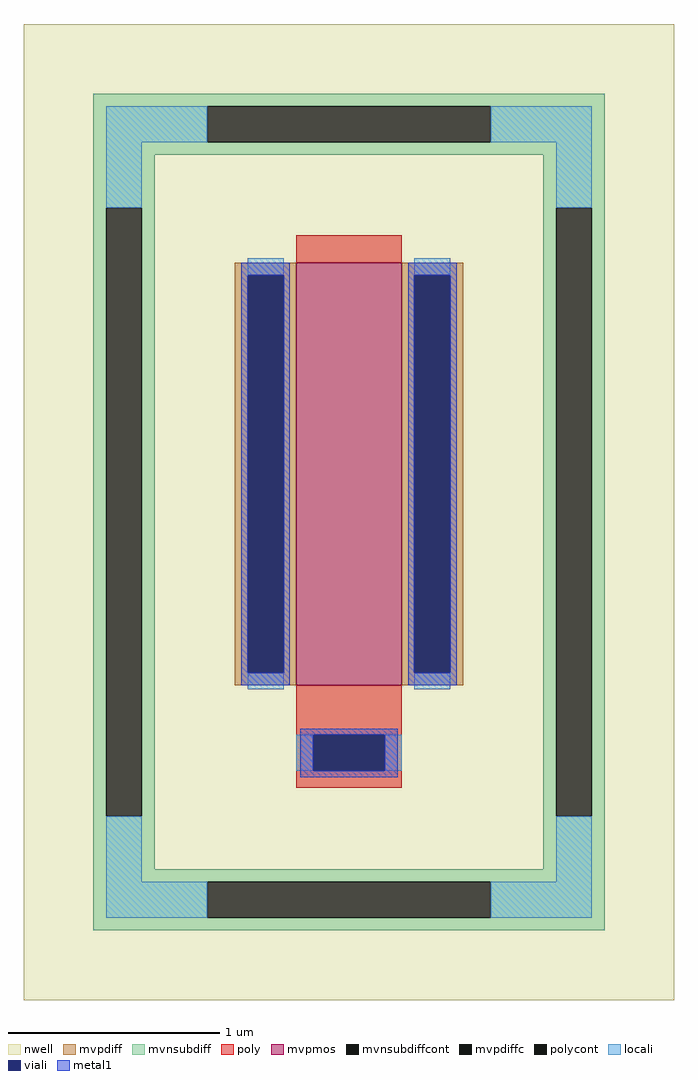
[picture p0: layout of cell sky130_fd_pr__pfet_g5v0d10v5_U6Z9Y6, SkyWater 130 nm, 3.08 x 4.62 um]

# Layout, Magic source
magic
tech sky130A
magscale 1 2
<< nwell >>
rect -308 -462 308 462
<< mvpmos >>
rect -50 -164 50 236
<< mvpdiff >>
rect -108 224 -50 236
rect -108 -152 -96 224
rect -62 -152 -50 224
rect -108 -164 -50 -152
rect 50 224 108 236
rect 50 -152 62 224
rect 96 -152 108 224
rect 50 -164 108 -152
<< mvpdiffc >>
rect -96 -152 -62 224
rect 62 -152 96 224
<< mvnsubdiff >>
rect -242 384 242 396
rect -242 350 -134 384
rect 134 350 242 384
rect -242 338 242 350
rect -242 288 -184 338
rect -242 -288 -230 288
rect -196 -288 -184 288
rect 184 288 242 338
rect -242 -338 -184 -288
rect 184 -288 196 288
rect 230 -288 242 288
rect 184 -338 242 -288
rect -242 -350 242 -338
rect -242 -384 -134 -350
rect 134 -384 242 -350
rect -242 -396 242 -384
<< mvnsubdiffcont >>
rect -134 350 134 384
rect -230 -288 -196 288
rect 196 -288 230 288
rect -134 -384 134 -350
<< poly >>
rect -50 236 50 262
rect -50 -211 50 -164
rect -50 -245 -34 -211
rect 34 -245 50 -211
rect -50 -261 50 -245
<< polycont >>
rect -34 -245 34 -211
<< locali >>
rect -230 350 -134 384
rect 134 350 230 384
rect -230 288 -196 350
rect 196 288 230 350
rect -96 224 -62 240
rect -96 -168 -62 -152
rect 62 224 96 240
rect 62 -168 96 -152
rect -50 -245 -34 -211
rect 34 -245 50 -211
rect -230 -350 -196 -288
rect 196 -350 230 -288
rect -230 -384 -134 -350
rect 134 -384 230 -350
<< viali >>
rect -96 -152 -62 224
rect 62 -152 96 224
rect -34 -245 34 -211
<< metal1 >>
rect -102 224 -56 236
rect -102 -152 -96 224
rect -62 -152 -56 224
rect -102 -164 -56 -152
rect 56 224 102 236
rect 56 -152 62 224
rect 96 -152 102 224
rect 56 -164 102 -152
rect -46 -211 46 -205
rect -46 -245 -34 -211
rect 34 -245 46 -211
rect -46 -251 46 -245
<< properties >>
string FIXED_BBOX -213 -367 213 367
string gencell sky130_fd_pr__pfet_g5v0d10v5
string library sky130
string parameters w 2.0 l 0.5 m 1 nf 1 diffcov 100 polycov 100 guard 1 glc 1 grc 1 gtc 1 gbc 1 tbcov 100 rlcov 100 topc 0 botc 1 poverlap 0 doverlap 1 lmin 0.50 wmin 0.42 compatible {sky130_fd_pr__pfet_01v8  sky130_fd_pr__pfet_01v8_lvt sky130_fd_pr__pfet_01v8_hvt  sky130_fd_pr__pfet_g5v0d10v5} full_metal 1 viasrc 100 viadrn 100 viagate 100 viagb 0 viagr 0 viagl 0 viagt 0
<< end >>
